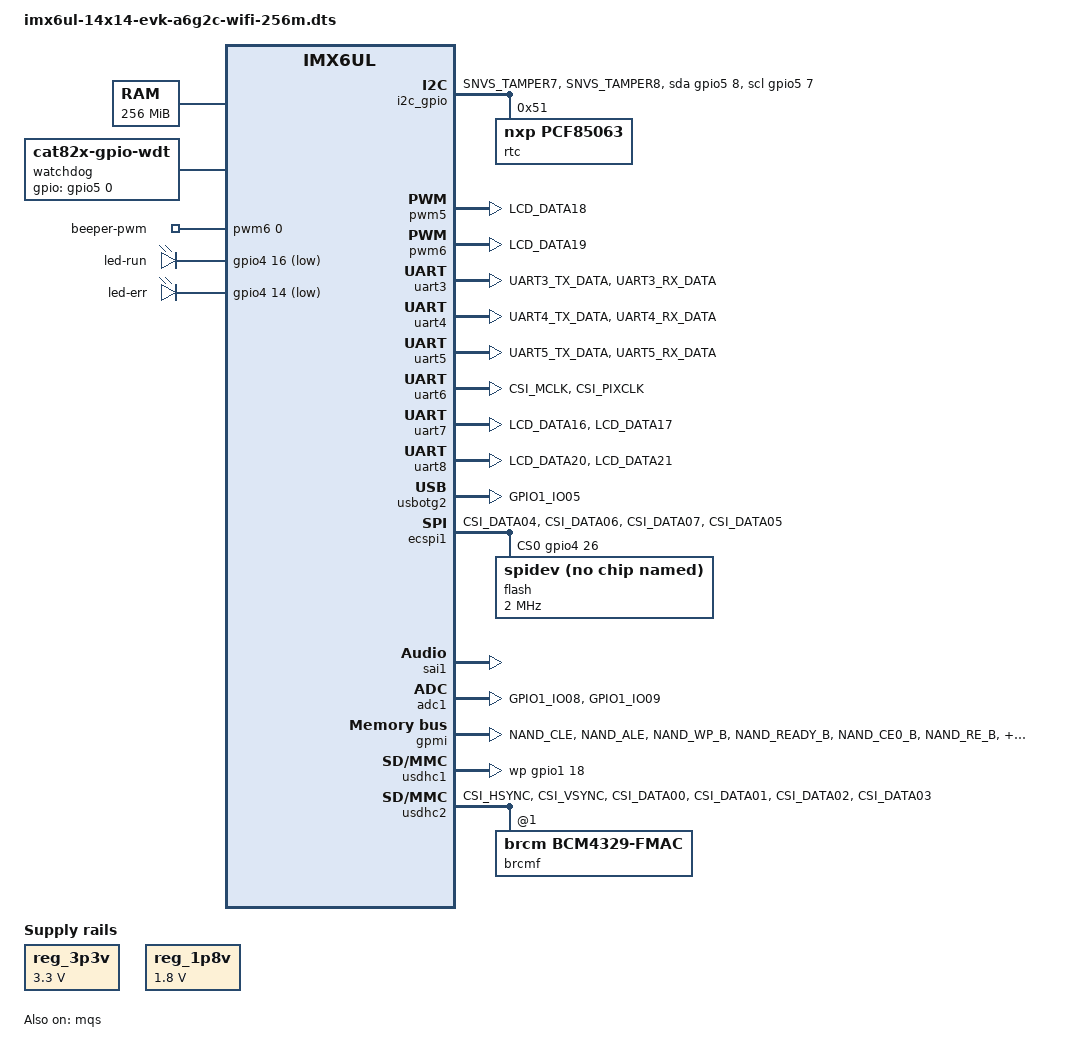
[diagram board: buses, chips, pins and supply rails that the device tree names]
// SPDX-License-Identifier: GPL-2.0
//
// Copyright (C) 2015 Freescale Semiconductor, Inc.

#include "imx6ul-14x14-evk.dts"
/ {
	memory@80000000 {
		reg = <0x80000000 0x10000000>;
	};

	reserved-memory {
		linux,cma {
			size = <0x2000000>;
		};
	};

	sound-wm8960 {
		status = "disabled";
	};

	sound-mqs {
		compatible = "fsl,imx6sx-sdb-mqs",
				"fsl,imx-audio-mqs";
		model = "mqs-audio";
		cpu-dai = <&sai1>;
		asrc-controller = <&asrc>;
		audio-codec = <&mqs>;
	};

	regulators {
		compatible = "simple-bus";
		#address-cells = <1>;
		#size-cells = <0>;

		reg_3p3v: 3p3v {
			compatible = "regulator-fixed";
			regulator-name = "3P3V";
			regulator-min-microvolt = <3300000>;
			regulator-max-microvolt = <3300000>;
			regulator-always-on;
		};

		reg_1p8v: 1p8v {
			compatible = "regulator-fixed";
			regulator-name = "1P8V";
			regulator-min-microvolt = <1800000>;
			regulator-max-microvolt = <1800000>;
			regulator-always-on;
		};
	};

	i2c_gpio: analog-i2c {
		compatible = "i2c-gpio";
		gpios = <&gpio5 8 0 /* sda */
				 &gpio5 7 0 /* scl */
				>;
		pinctrl-names = "default";
		pinctrl-0 = <&pinctrl_i2c>;
		i2c-gpio,delay-us = <5>;
		i2c-gpio,timeout-ms = <100>;
		#address-cells = <1>;
		#size-cells = <0>;

		rtc@51 {
			compatible = "nxp,pcf85063";
			reg = <0x51>;
		};

		adv7180: adv7180@20 {
			compatible = "adv,adv7180";
			reg = <0x20>;
			pinctrl-names = "default";
			pinctrl-0 = <&pinctrl_csi0>;
			clocks = <&clks  IMX6UL_CLK_CSI>;
			clock-names = "csi_mclk";
			DOVDD-supply = <&reg_3p3v>;
			AVDD-supply  = <&reg_1p8v>;
			DVDD-supply  = <&reg_1p8v>;
			PVDD-supply  = <&reg_1p8v>;
			pwn-gpios = <&gpio5 6 0>;
			rst-gpios = <&gpio5 5 0>;
			csi_id = <0>;
			mclk = <22000000>;
			mclk_source = <0>;
			cvbs = <1>;
			status = "disabled";
			port {
				adv7180_ep: adv-endpoint {
					remote-endpoint = <&csi1_ep>;
				};
			};
		};
	};

	watchdog: watchdog {
		compatible = "cat82x-gpio-wdt";
		pinctrl-names = "default";
		pinctrl-0 = <&pinctrl_wdt>;
		gpios = <&gpio5 0 0>;
		hw_margin_ms = <800>;
	};

	beep {
		compatible = "pwm-leds";
		beep-leds {
			label = "beeper-pwm";
			pwms = <&pwm6 0 400000>;
			max-brightness = <127>;
		};
	};

	leds {
		compatible = "gpio-leds";
		green-led {
			label = "led-run";
			gpios = <&gpio4 16 1>;
			linux,default-trigger = "heartbeat";
		};

		red-led {
			label = "led-err";
			gpios = <&gpio4 14 1>;
			default-state = "keep";
		};
	};

	spi4 {
		status = "disabled";
	};

};

&backlight_display {
	pwms = <&pwm5 0 5000000>;
	default-brightness-level = <7>;
};

&csi1_ep {
	remote-endpoint = <&adv7180_ep>;
};

&i2c1 {
	status = "disabled";
};

&i2c2 {
	status = "disabled";
};

&fec1 {
	local-mac-address = [00 00 de ad 4e d8];
};

&fec2 {
	local-mac-address = [11 00 de ad 4e d9];
};

&ethphy0 {
	reg = <1>;
};

&ethphy1 {
	reg = <5>;
};

&lcdif {
	status = "disabled";

	display0: display@0 {
		bus-width = <16>;

		display-timings {
			timing0: timing0 {
				clock-frequency = <9000000>;
				hback-porch = <43>;
				hsync-len = <4>;
				vback-porch = <8>;
				vfront-porch = <8>;
				vsync-len = <6>;
			};
		};
	};
};

&pwm1 {
	status = "disabled";
};

&pwm5 {
	pinctrl-names = "default";
	pinctrl-0 = <&pinctrl_pwm5>;
	status = "okay";
};

&pwm6 {
	pinctrl-names = "default";
	pinctrl-0 = <&pinctrl_pwm6>;
	status = "okay";
};

&qspi {
	status = "disabled";
};

&snvs_poweroff {
	status = "disabled";
};

&snvs_pwrkey {
	status = "disabled";
};

&sim2 {
	status = "disabled";
};

&uart2 {
	/delete-property/ uart-has-rtscts;
};

&uart3 {
	pinctrl-names = "default";
	pinctrl-0 = <&pinctrl_uart3>;
	status = "okay";
};

&uart4 {
	pinctrl-names = "default";
	pinctrl-0 = <&pinctrl_uart4>;
	status = "okay";
};

&uart5 {
	pinctrl-names = "default";
	pinctrl-0 = <&pinctrl_uart5>;
	status = "okay";
};

&uart6 {
	pinctrl-names = "default";
	pinctrl-0 = <&pinctrl_uart6>;
	status = "okay";
};

&uart7 {
	pinctrl-names = "default";
	pinctrl-0 = <&pinctrl_uart7>;
	status = "okay";
};

&uart8 {
	pinctrl-names = "default";
	pinctrl-0 = <&pinctrl_uart8>;
	status = "okay";
};

&usbotg2 {
	pinctrl-names = "default";
	pinctrl-0 = <&pinctrl_usbotg2>;
};

&ecspi1 {
	fsl,spi-num-chipselects = <1>;
	cs-gpios = <&gpio4 26 0>;
	pinctrl-names = "default";
	pinctrl-0 = <&pinctrl_ecspi1_1 &pinctrl_ecspi1_cs_1>;
	status = "okay";

	flash: mx25l1653@0 {
		#address-cells = <1>;
		#size-cells = <1>;
		compatible = "rohm,dh2228fv";   /* spidev */
		spi-max-frequency = <2000000>;
		reg = <0>;
	};
};

&sai1 {
	assigned-clocks = <&clks IMX6UL_CLK_SAI1_SEL>,
			<&clks IMX6UL_CLK_SAI1>;
	assigned-clock-parents = <&clks IMX6UL_CLK_PLL4_AUDIO_DIV>;
	assigned-clock-rates = <0>, <24576000>;
	status = "okay";
};

&sai2 {
	status = "disabled";
};

&mqs {
	pinctrl-names = "default";
	pinctrl-0 = <&pinctrl_mqs>;
	clocks = <&clks IMX6UL_CLK_SAI1>;
	clock-names = "mclk";
	status = "okay";
};

&gpc {
	fsl,cpu_pupscr_sw2iso = <0x2>;
	fsl,cpu_pupscr_sw = <0x1>;
	fsl,cpu_pdnscr_iso2sw = <0x1>;
	fsl,cpu_pdnscr_iso = <0x1>;
/*  fsl,wdog-reset = <1>;  watchdog select of reset source */
	fsl,ldo-bypass = <1>; /* use ldo-bypass, u-boot will check it and configure */
};

&adc1 {
	pinctrl-names = "default";
	pinctrl-0 = <&pinctrl_adc1>;
	num-channels = <10>;
	status = "okay";
};

&gpmi {
	pinctrl-names = "defalut";
	pinctrl-0 = <&pinctrl_gpmi_nand_1>;
	status = "okay";
	nand-on-flash-bbt;

	partition@0 {
		label = "u-boot";
		reg = <0x0000000 0x300000>; /* 3M */
	};

	partition@300000 {
		label = "dtb";
		reg = <0x300000 0x100000>;  /* 1M */
	};

	partition@400000 {
		label = "kernel";
		reg = <0x400000 0xC00000>;  /* 12M */
	};

	partition@1000000 {
		label = "rootfs";
		reg = <0x1000000 0x7000000>; /* 112M */
	};

	partition@8000000 {
		label = "opt";
		reg = <0x8000000 0x8000000>; /* 128M */
	};
};

&usdhc1 {
	pinctrl-names = "default";
	/delete-property/ pinctrl-1;
	/delete-property/ pinctrl-2;
	no-1-8-v;
	wp-gpios = <&gpio1 18 GPIO_ACTIVE_HIGH>;
	/delete-property/ vmmc-supply;
};

&usdhc2 {
	pinctrl-names = "default", "state_100mhz", "state_200mhz";
	pinctrl-0 = <&pinctrl_usdhc2>;
	pinctrl-1 = <&pinctrl_usdhc2_100mhz>;
	pinctrl-2 = <&pinctrl_usdhc2_200mhz>;
	wifi-host;
	#address-cells = <1>;
	#size-cells = <0>;

	brcmf: brcmf@1 {
		reg = <1>;
		compatible = "brcm,bcm4329-fmac";
		host-wake-disable;
	};
};

&can1 {
	/delete-property/ xceiver-supply;
};

&can2 {
	/delete-property/ xceiver-supply;
};

&wdog1 {
	status = "disabled";
};

&iomuxc {
	pinctrl-0 = <&pinctrl_hog_1 &pinctrl_wifi &pinctrl_paver>;

	pinctrl_hog_1: hoggrp-1 {
		fsl,pins = <
			MX6UL_PAD_NAND_DQS__GPIO4_IO16      0x17059 /* err led */
			MX6UL_PAD_NAND_CE1_B__GPIO4_IO14    0x17059 /* run led */
			MX6UL_PAD_SNVS_TAMPER1__GPIO5_IO01  0x17059 /* sys mode */
			MX6UL_PAD_SNVS_TAMPER2__GPIO5_IO02  0x17059 /* clr reg */
			MX6UL_PAD_SNVS_TAMPER3__GPIO5_IO03  0x17059 /* eth1_reset */
			MX6UL_PAD_SNVS_TAMPER4__GPIO5_IO04  0x17059 /* eth2_reset */
		>;
	};

	pinctrl_paver: paver {
		fsl,pins = <
			MX6UL_PAD_LCD_CLK__GPIO3_IO00       0x40017059 /* BD_V_POWER_EN */
			MX6UL_PAD_SNVS_TAMPER6__GPIO5_IO06  0x40017059 /* BD_L_POWER_EN */
			MX6UL_PAD_LCD_ENABLE__GPIO3_IO01    0x40017059 /* BD_RESET */
			MX6UL_PAD_LCD_DATA09__GPIO3_IO14    0x40017059 /* VPcie_En */
			MX6UL_PAD_LCD_HSYNC__GPIO3_IO02     0x40017059 /* Can1Stb */
			MX6UL_PAD_LCD_VSYNC__GPIO3_IO03     0x40017059 /* Can2Stb */
			MX6UL_PAD_LCD_RESET__GPIO3_IO04     0x40017059 /* 4G_Power_on/off */
			MX6UL_PAD_LCD_DATA13__GPIO3_IO18    0x40017059 /* 4G_RESET */
		>;
	};

	pinctrl_lcdif_dat: lcdifdatgrp {
		fsl,pins = <
			MX6UL_PAD_LCD_DATA00__LCDIF_DATA00  0x79
			MX6UL_PAD_LCD_DATA01__LCDIF_DATA01  0x79
			MX6UL_PAD_LCD_DATA02__LCDIF_DATA02  0x79
			MX6UL_PAD_LCD_DATA03__LCDIF_DATA03  0x79
			MX6UL_PAD_LCD_DATA04__LCDIF_DATA04  0x79
			MX6UL_PAD_LCD_DATA05__LCDIF_DATA05  0x79
			MX6UL_PAD_LCD_DATA06__LCDIF_DATA06  0x79
			MX6UL_PAD_LCD_DATA07__LCDIF_DATA07  0x79
			MX6UL_PAD_LCD_DATA08__LCDIF_DATA08  0x79
			MX6UL_PAD_LCD_DATA09__LCDIF_DATA09  0x79
			MX6UL_PAD_LCD_DATA10__LCDIF_DATA10  0x79
			MX6UL_PAD_LCD_DATA11__LCDIF_DATA11  0x79
			MX6UL_PAD_LCD_DATA12__LCDIF_DATA12  0x79
			MX6UL_PAD_LCD_DATA13__LCDIF_DATA13  0x79
			MX6UL_PAD_LCD_DATA14__LCDIF_DATA14  0x79
			MX6UL_PAD_LCD_DATA15__LCDIF_DATA15  0x79
		>;
	};

	pinctrl_lcdif_ctrl: lcdifctrlgrp {
		fsl,pins = <
			MX6UL_PAD_LCD_CLK__LCDIF_CLK	    0x79
			MX6UL_PAD_LCD_ENABLE__LCDIF_ENABLE  0x79
			MX6UL_PAD_LCD_HSYNC__LCDIF_HSYNC    0x79
			MX6UL_PAD_LCD_VSYNC__LCDIF_VSYNC    0x79
		>;
	};

	pinctrl_pwm5: pwm5grp {
		fsl,pins = <
			MX6UL_PAD_LCD_DATA18__PWM5_OUT  0x110b0
		>;
	};

	pinctrl_pwm6: pwm6grp {
		fsl,pins = <
			MX6UL_PAD_LCD_DATA19__PWM6_OUT  0x110b0
		>;
	};

	pinctrl_mqs: mqsgrp {
		fsl,pins = <
			MX6UL_PAD_LCD_DATA22__MQS_RIGHT 0x11088
			MX6UL_PAD_LCD_DATA23__MQS_LEFT  0x11088
		>;
	};

	pinctrl_uart2: uart2grp {
		fsl,pins = <
			MX6UL_PAD_UART2_TX_DATA__UART2_DCE_TX	0x1b0b1
			MX6UL_PAD_UART2_RX_DATA__UART2_DCE_RX	0x1b0b1
		>;
	};

	pinctrl_uart3: uart3grp {
		fsl,pins = <
			MX6UL_PAD_UART3_TX_DATA__UART3_DCE_TX   0x1b0b1
			MX6UL_PAD_UART3_RX_DATA__UART3_DCE_RX   0x1b0b1
		>;
	};

	pinctrl_uart4: uart4grp {
		fsl,pins = <
			MX6UL_PAD_UART4_TX_DATA__UART4_DCE_TX   0x1b0b1
			MX6UL_PAD_UART4_RX_DATA__UART4_DCE_RX   0x1b0b1
		>;
	};

	pinctrl_uart5: uart5grp {
		fsl,pins = <
			MX6UL_PAD_UART5_TX_DATA__UART5_DCE_TX   0x1b0b1
			MX6UL_PAD_UART5_RX_DATA__UART5_DCE_RX   0x1b0b1
		>;
	};

	pinctrl_uart6: uart6grp {
		fsl,pins = <
			MX6UL_PAD_CSI_MCLK__UART6_DCE_TX    0x1b0b1
			MX6UL_PAD_CSI_PIXCLK__UART6_DCE_RX  0x1b0b1
		>;
	};

	pinctrl_uart7: uart7grp {
		fsl,pins = <
			MX6UL_PAD_LCD_DATA16__UART7_DCE_TX  0x1b0b1
			MX6UL_PAD_LCD_DATA17__UART7_DCE_RX  0x1b0b1
		>;
	};

	pinctrl_uart8: uart8grp {
		fsl,pins = <
			MX6UL_PAD_LCD_DATA20__UART8_DCE_TX  0x1b0b1
			MX6UL_PAD_LCD_DATA21__UART8_DCE_RX  0x1b0b1
		>;
	};

	pinctrl_usbotg2: usbotg2grp {
		fsl,pins = <
			MX6UL_PAD_GPIO1_IO05__ANATOP_OTG2_ID 0x17059
		>;
	};

	pinctrl_usdhc1: usdhc1grp {
		fsl,pins = <
			MX6UL_PAD_SD1_CMD__USDHC1_CMD     	0x17059
			MX6UL_PAD_SD1_CLK__USDHC1_CLK		0x10059
			MX6UL_PAD_SD1_DATA0__USDHC1_DATA0 	0x17059
			MX6UL_PAD_SD1_DATA1__USDHC1_DATA1 	0x17059
			MX6UL_PAD_SD1_DATA2__USDHC1_DATA2 	0x17059
			MX6UL_PAD_SD1_DATA3__USDHC1_DATA3 	0x17059
			MX6UL_PAD_UART1_RTS_B__GPIO1_IO19       0x17059 /* SD1 CD */
			MX6UL_PAD_UART1_CTS_B__GPIO1_IO18       0x17059 /* SD1 WP */
		>;
	};

	pinctrl_usdhc2: usdhc2grp {
		fsl,pins = <
			MX6UL_PAD_CSI_HSYNC__USDHC2_CMD     0x17059
			MX6UL_PAD_CSI_VSYNC__USDHC2_CLK     0x17059
			MX6UL_PAD_CSI_DATA00__USDHC2_DATA0  0x17059
			MX6UL_PAD_CSI_DATA01__USDHC2_DATA1  0x17059
			MX6UL_PAD_CSI_DATA02__USDHC2_DATA2  0x17059
			MX6UL_PAD_CSI_DATA03__USDHC2_DATA3  0x17059
		>;
	};

	pinctrl_usdhc2_100mhz: usdhc2grp100mhz {
		fsl,pins = <
			MX6UL_PAD_CSI_HSYNC__USDHC2_CMD     0x170b9
			MX6UL_PAD_CSI_VSYNC__USDHC2_CLK     0x170b9
			MX6UL_PAD_CSI_DATA00__USDHC2_DATA0  0x170b9
			MX6UL_PAD_CSI_DATA01__USDHC2_DATA1  0x170b9
			MX6UL_PAD_CSI_DATA02__USDHC2_DATA2  0x170b9
			MX6UL_PAD_CSI_DATA03__USDHC2_DATA3  0x170b9
		>;
	};

	pinctrl_usdhc2_200mhz: usdhc2grp200mhz {
		fsl,pins = <
			MX6UL_PAD_CSI_HSYNC__USDHC2_CMD     0x170f9
			MX6UL_PAD_CSI_VSYNC__USDHC2_CLK     0x170f9
			MX6UL_PAD_CSI_DATA00__USDHC2_DATA0  0x170f9
			MX6UL_PAD_CSI_DATA01__USDHC2_DATA1  0x170f9
			MX6UL_PAD_CSI_DATA02__USDHC2_DATA2  0x170f9
			MX6UL_PAD_CSI_DATA03__USDHC2_DATA3  0x170f9
		>;
	};


	pinctrl_adc1: adc1grp {
		fsl,pins = <
			MX6UL_PAD_GPIO1_IO08__GPIO1_IO08        0xb0        /* adc 8 */
			MX6UL_PAD_GPIO1_IO09__GPIO1_IO09        0xb0        /* adc 9 */
		>;
	};

	pinctrl_gpmi_nand_1: gpmi-nand-1 {
		fsl,pins = <
			MX6UL_PAD_NAND_CLE__RAWNAND_CLE         0xb0b1
			MX6UL_PAD_NAND_ALE__RAWNAND_ALE         0xb0b1
			MX6UL_PAD_NAND_WP_B__RAWNAND_WP_B       0xb0b1
			MX6UL_PAD_NAND_READY_B__RAWNAND_READY_B 0xb0b1
			MX6UL_PAD_NAND_CE0_B__RAWNAND_CE0_B     0xb0b1
			MX6UL_PAD_NAND_RE_B__RAWNAND_RE_B       0xb0b1
			MX6UL_PAD_NAND_WE_B__RAWNAND_WE_B       0xb0b1
			MX6UL_PAD_NAND_WP_B__RAWNAND_WP_B       0xb0b1
			MX6UL_PAD_NAND_DATA00__RAWNAND_DATA00   0xb0b1
			MX6UL_PAD_NAND_DATA01__RAWNAND_DATA01   0xb0b1
			MX6UL_PAD_NAND_DATA02__RAWNAND_DATA02   0xb0b1
			MX6UL_PAD_NAND_DATA03__RAWNAND_DATA03   0xb0b1
			MX6UL_PAD_NAND_DATA04__RAWNAND_DATA04   0xb0b1
			MX6UL_PAD_NAND_DATA05__RAWNAND_DATA05   0xb0b1
			MX6UL_PAD_NAND_DATA06__RAWNAND_DATA06   0xb0b1
			MX6UL_PAD_NAND_DATA07__RAWNAND_DATA07   0xb0b1
		>;
	};

	pinctrl_ecspi1_cs_1: ecspi1_cs_grp-1 {
		fsl,pins = <
			MX6UL_PAD_CSI_DATA05__GPIO4_IO26    0x17059
		>;
	};

	pinctrl_ecspi1_1: escpi1grp {
		fsl,pins = <
			MX6UL_PAD_CSI_DATA04__ECSPI1_SCLK   0x100b1
			MX6UL_PAD_CSI_DATA06__ECSPI1_MOSI   0x100b1
			MX6UL_PAD_CSI_DATA07__ECSPI1_MISO   0x100b1
		>;
	};

	pinctrl_csi0: csi0grp {
		fsl,pins = <
			MX6UL_PAD_CSI_MCLK__CSI_MCLK        0x1b088
			MX6UL_PAD_CSI_PIXCLK__CSI_PIXCLK    0x1b088
			MX6UL_PAD_CSI_VSYNC__CSI_VSYNC      0x1b088
			MX6UL_PAD_CSI_HSYNC__CSI_HSYNC      0x1b088
			MX6UL_PAD_CSI_DATA00__CSI_DATA02    0x1b088
			MX6UL_PAD_CSI_DATA01__CSI_DATA03    0x1b088
			MX6UL_PAD_CSI_DATA02__CSI_DATA04    0x1b088
			MX6UL_PAD_CSI_DATA03__CSI_DATA05    0x1b088
			MX6UL_PAD_CSI_DATA04__CSI_DATA06    0x1b088
			MX6UL_PAD_CSI_DATA05__CSI_DATA07    0x1b088
			MX6UL_PAD_CSI_DATA06__CSI_DATA08    0x1b088
			MX6UL_PAD_CSI_DATA07__CSI_DATA09    0x1b088
			MX6UL_PAD_SNVS_TAMPER5__GPIO5_IO05  0x17059 /* csi_reset */
			MX6UL_PAD_SNVS_TAMPER6__GPIO5_IO06  0x17059 /* csi_en */
		>;
	};

	pinctrl_i2c: i2cgrp {
		fsl,pins = <
			MX6UL_PAD_SNVS_TAMPER7__GPIO5_IO07  0x4001b8b0  /*scl */
			MX6UL_PAD_SNVS_TAMPER8__GPIO5_IO08  0x4001b8b0  /*sda */
		>;
	};

	pinctrl_wifi: wifigrp {
		fsl,pins = <
			MX6UL_PAD_SNVS_TAMPER5__GPIO5_IO05  0x17059 /* WL_REG_ON */
			MX6UL_PAD_SNVS_TAMPER9__GPIO5_IO09  0x17059 /*WL_HOST_WAKE*/
		>;
	};

	pinctrl_blueth: bluethgrp {
		fsl,pins = <
			MX6UL_PAD_UART2_RTS_B__UART2_DCE_RTS    0x1b0b1
			MX6UL_PAD_UART2_CTS_B__UART2_DCE_CTS    0x1b0b1
			MX6UL_PAD_SNVS_TAMPER6__GPIO5_IO06  0x17059 /* BT_WAKE */
		>;
	};

	pinctrl_wdt: wdtgrp {
		fsl,pins = <
			MX6UL_PAD_SNVS_TAMPER0__GPIO5_IO00  0x17059 /* wdog */
		>;
	};
};
